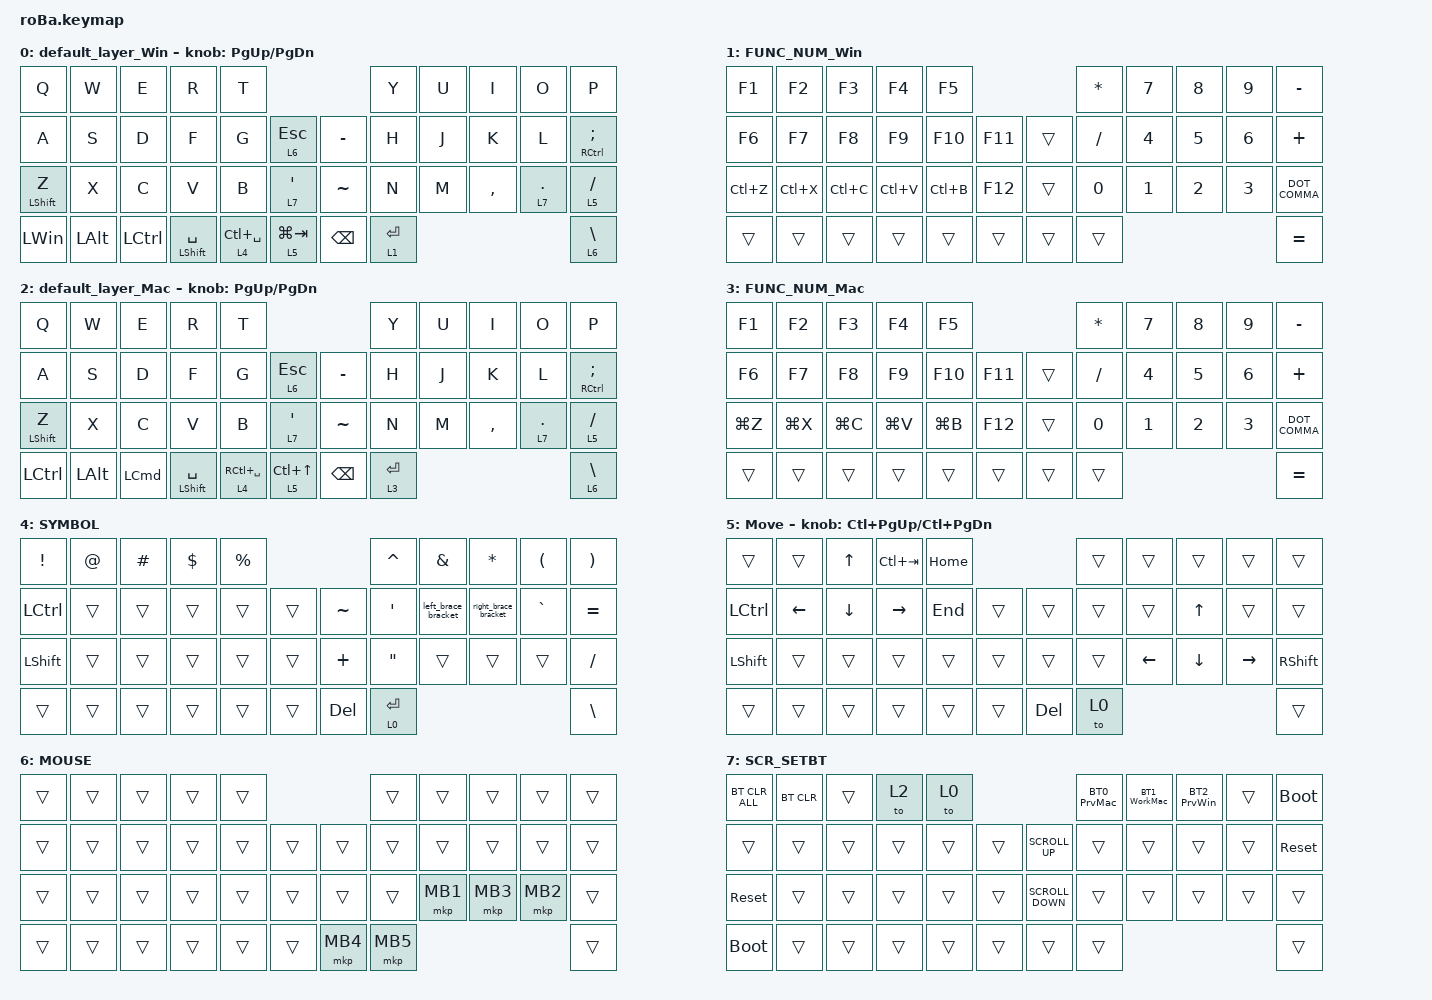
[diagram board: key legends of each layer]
#include <behaviors.dtsi>
#include <dt-bindings/zmk/bt.h>
#include <dt-bindings/zmk/keys.h>
#include <dt-bindings/zmk/pointing.h>

#define MOUSE 4
#define SCROLL 5
#define NUM 6

&mt {
    flavor = "balanced";
    quick-tap-ms = <0>;
};

/ {
    combos {
        compatible = "zmk,combos";

        tab {
            bindings = <&kp TAB>;
            key-positions = <1 0>;
        };

        shift_tab {
            bindings = <&kp RS(TAB)>;
            key-positions = <2 1>;
            slow-release;
        };

        double_quotation {
            bindings = <&kp SINGLE_QUOTE>;
            key-positions = <20 21>;
        };

        eq {
            bindings = <&kp EQUAL>;
            key-positions = <24 25>;
        };

        Mac_ScreenLock {
            bindings = <&kp LG(LC(Q))>;
            key-positions = <27 15 39>;
        };

        Ctrl+Alt+Del {
            bindings = <&kp LC(LA(DELETE))>;
            key-positions = <16 28 40>;
        };

        Minus {
            bindings = <&kp MINUS>;
            key-positions = <8 9>;
        };
    };

    macros {
        to_layer_0: to_layer_0 {
            compatible = "zmk,behavior-macro-one-param";
            #binding-cells = <1>;
            bindings = <&to 0 &macro_param_1to1 &kp MACRO_PLACEHOLDER>;
            label = "TO_LAYER_0";
        };

        BT0_PrvMac: BT0_Win {
            compatible = "zmk,behavior-macro";
            #binding-cells = <0>;
            bindings = <&to 2 &bt BT_SEL 0>;
            label = "BT0_WIN";
        };

        BT1_WorkMac: BT1_Mac {
            compatible = "zmk,behavior-macro";
            #binding-cells = <0>;
            bindings = <&to 2 &bt BT_SEL 1>;
            label = "BT1_MAC";
        };

        BT2_PrvWin: BT3_Win {
            compatible = "zmk,behavior-macro";
            #binding-cells = <0>;
            bindings = <&to 0 &bt BT_SEL 2>;
            label = "BT3_WIN";
        };
    };

    behaviors {
        lt_to_layer_0: lt_to_layer_0 {
            compatible = "zmk,behavior-hold-tap";
            label = "LAYER_TAP_TO_0";
            bindings = <&mo>, <&to_layer_0>;

            #binding-cells = <2>;
            tapping-term-ms = <200>;
        };

        colon_semicolon: colon_semicolon {
            compatible = "zmk,behavior-tap-dance";
            label = "COLON_SEMICOLON";
            #binding-cells = <0>;
            bindings = <&kp COLON>, <&kp SEMICOLON>;
        };

        DOT_COMMA: DOT_COMMA {
            compatible = "zmk,behavior-tap-dance";
            label = "DOT_COMMA";
            #binding-cells = <0>;
            bindings = <&kp DOT>, <&kp COMMA>;
        };

        left_brace_bracket: left_brace_bracket {
            compatible = "zmk,behavior-tap-dance";
            label = "LEFT_BRACE_BRACKET";
            #binding-cells = <0>;
            bindings = <&kp LEFT_BRACE>, <&kp LEFT_BRACKET>;
        };

        right_brace_bracket: right_brace_bracket {
            compatible = "zmk,behavior-tap-dance";
            label = "RIGHT_BRACE_BRACKET";
            #binding-cells = <0>;
            bindings = <&kp RIGHT_BRACE>, <&kp RIGHT_BRACKET>;
        };
    };

    keymap {
        compatible = "zmk,keymap";

        default_layer_Win {
            bindings = <
&kp Q             &kp W         &kp E             &kp R            &kp T                                                   &kp Y        &kp U  &kp I      &kp O      &kp P
&kp A             &kp S         &kp D             &kp F            &kp G            &lt 6 ESCAPE            &kp MINUS      &kp H        &kp J  &kp K      &kp L      &mt RIGHT_CONTROL SEMICOLON
&mt LEFT_SHIFT Z  &kp X         &kp C             &kp V            &kp B            &lt 7 SINGLE_QUOTE      &kp TILDE      &kp N        &kp M  &kp COMMA  &lt 7 DOT  &lt 5 SLASH
&kp LEFT_WIN      &kp LEFT_ALT  &kp LEFT_CONTROL  &mt LSHFT SPACE  &lt 4 LC(SPACE)  &lt 5 LG(TAB)           &kp BACKSPACE  &lt 1 ENTER                               &lt 6 BACKSLASH
            >;

            sensor-bindings = <&inc_dec_kp PG_UP PAGE_DOWN>;
        };

        FUNC_NUM_Win {
            bindings = <
&kp F1     &kp F2     &kp F3     &kp F4     &kp F5                          &kp ASTERISK  &kp NUMBER_7  &kp NUMBER_8  &kp NUMBER_9  &kp MINUS
&kp F6     &kp F7     &kp F8     &kp F9     &kp F10    &kp F11      &trans  &kp SLASH     &kp NUMBER_4  &kp NUMBER_5  &kp NUMBER_6  &kp PLUS
&kp LC(Z)  &kp LC(X)  &kp LC(C)  &kp LC(V)  &kp LC(B)  &kp F12      &trans  &kp NUMBER_0  &kp NUMBER_1  &kp NUMBER_2  &kp NUMBER_3  &DOT_COMMA
&trans     &trans     &trans     &trans     &trans     &trans       &trans  &trans                                                  &kp EQUAL
            >;
        };

        default_layer_Mac {
            bindings = <
&kp Q             &kp W         &kp E             &kp R                 &kp T                                                   &kp Y        &kp U  &kp I      &kp O         &kp P
&kp A             &kp S         &kp D             &kp F                 &kp G            &lt 6 ESCAPE            &kp MINUS      &kp H        &kp J  &kp K      &kp L         &mt RIGHT_CONTROL SEMICOLON
&mt LEFT_SHIFT Z  &kp X         &kp C             &kp V                 &kp B            &lt 7 SINGLE_QUOTE      &kp TILDE      &kp N        &kp M  &kp COMMA  &lt 7 PERIOD  &lt 5 SLASH
&kp LCTRL         &kp LEFT_ALT  &kp LEFT_COMMAND  &mt LEFT_SHIFT SPACE  &lt 4 RC(SPACE)  &lt 5 LC(UP_ARROW)      &kp BACKSPACE  &lt 3 ENTER                                  &lt 6 BACKSLASH
            >;

            sensor-bindings = <&inc_dec_kp PG_UP PAGE_DOWN>;
        };

        FUNC_NUM_Mac {
            bindings = <
&kp F1     &kp F2     &kp F3     &kp F4     &kp F5                          &kp ASTERISK  &kp NUMBER_7  &kp NUMBER_8  &kp NUMBER_9  &kp MINUS
&kp F6     &kp F7     &kp F8     &kp F9     &kp F10    &kp F11      &trans  &kp SLASH     &kp NUMBER_4  &kp NUMBER_5  &kp NUMBER_6  &kp PLUS
&kp LG(Z)  &kp LG(X)  &kp LG(C)  &kp LG(V)  &kp LG(B)  &kp F12      &trans  &kp NUMBER_0  &kp NUMBER_1  &kp NUMBER_2  &kp NUMBER_3  &DOT_COMMA
&trans     &trans     &trans     &trans     &trans     &trans       &trans  &trans                                                  &kp EQUAL
            >;
        };

        SYMBOL {
            bindings = <
&kp EXCLAMATION   &kp AT  &kp HASH  &kp DOLLAR  &kp PERCENT                         &kp CARET          &kp AMPERSAND        &kp ASTERISK          &kp LEFT_PARENTHESIS  &kp RIGHT_PARENTHESIS
&kp LEFT_CONTROL  &trans  &trans    &trans      &trans       &trans      &kp TILDE  &kp SQT            &left_brace_bracket  &right_brace_bracket  &kp GRAVE             &kp EQUAL
&kp LEFT_SHIFT    &trans  &trans    &trans      &trans       &trans      &kp PLUS   &kp DOUBLE_QUOTES  &trans               &trans                &trans                &kp SLASH
&trans            &trans  &trans    &trans      &trans       &trans      &kp DEL    &lt 0 ENTER                                                                         &kp BACKSLASH
            >;
        };

        Move {
            bindings = <
&trans            &trans          &kp UP_ARROW    &kp LC(TAB)      &kp HOME                       &trans  &trans          &trans          &trans           &trans
&kp LEFT_CONTROL  &kp LEFT_ARROW  &kp DOWN_ARROW  &kp RIGHT_ARROW  &kp END   &trans      &trans   &trans  &trans          &kp UP_ARROW    &trans           &trans
&kp LEFT_SHIFT    &trans          &trans          &trans           &trans    &trans      &trans   &trans  &kp LEFT_ARROW  &kp DOWN_ARROW  &kp RIGHT_ARROW  &kp RIGHT_SHIFT
&trans            &trans          &trans          &trans           &trans    &trans      &kp DEL  &to 0                                                    &trans
            >;

            sensor-bindings = <&inc_dec_kp LC(PAGE_UP) LC(PAGE_DOWN)>;
        };

        MOUSE {
            bindings = <
&trans  &trans  &trans  &trans  &trans                        &trans    &trans    &trans    &trans    &trans
&trans  &trans  &trans  &trans  &trans  &trans      &trans    &trans    &trans    &trans    &trans    &trans
&trans  &trans  &trans  &trans  &trans  &trans      &trans    &trans    &mkp MB1  &mkp MB3  &mkp MB2  &trans
&trans  &trans  &trans  &trans  &trans  &trans      &mkp MB4  &mkp MB5                                &trans
            >;
        };

        SCR_SETBT {
            bindings = <
&bt BT_CLR_ALL  &bt BT_CLR  &trans  &to 2   &to 0                                  &BT0_PrvMac  &BT1_WorkMac  &BT2_PrvWin  &trans  &bootloader
&trans          &trans      &trans  &trans  &trans  &trans      &kp K_SCROLL_UP    &trans       &trans        &trans       &trans  &sys_reset
&sys_reset      &trans      &trans  &trans  &trans  &trans      &kp K_SCROLL_DOWN  &trans       &trans        &trans       &trans  &trans
&bootloader     &trans      &trans  &trans  &trans  &trans      &trans             &trans                                          &trans
            >;
        };
    };
};
